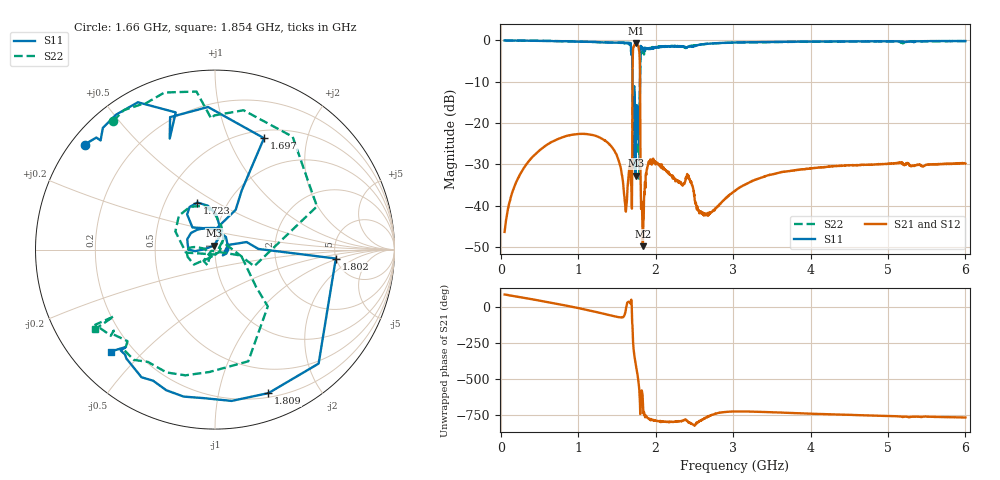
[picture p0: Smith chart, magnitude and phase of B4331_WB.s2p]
! Matrix data file written by TouchstoneData, EPCOS AG
! FILENAME: "B4331_01_WB.snp"
! COMMENT: "xxxx"
! INFO: nport=2, nfreq=1601
! DATE: "Wed Dec 18 10:35:18 2013"
! USER: "Dan Wang"
! port | pin | signal
!  1  |  1  |  input
!  2  |  4  |  output
# MHZ S RI R 50
! freq  reS11 imS11  reS21 imS21  reS12 imS12  reS22 imS22
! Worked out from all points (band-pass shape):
!   1601 points, 50 MHz to 6 GHz, reference 50 ohm
!   highest |S21| = -0.69 dB at 1.746 GHz (marker M1); lowest = -49.8 dB at 1.835 GHz (marker M2)
!   |S21| within 3 dB of the highest: 1.706 GHz to 1.792 GHz (86.73 MHz wide, 4.96 % of centre)
!   lowest |S11| = -32.7 dB at 1.742 GHz (marker M3), VSWR 1.05, Z = 49.5 + j2.25 ohm
!   |S11| at or under -10 dB: 1.702 GHz to 1.799 GHz (96.32 MHz wide, 5.5 % of centre)
!   |S22| runs from -33.5 to 0.0 dB; largest |S21 - S12| = 0
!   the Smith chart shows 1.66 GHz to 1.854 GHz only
!   S11 on the Smith chart (normalised r, x): 1.66 GHz: 0.04, +0.35; 1.697 GHz: 0.59, +1.36; 1.723 GHz: 0.72, +0.41; 1.802 GHz: 4.98, -0.91; 1.809 GHz: 0.24, -1.41; 1.854 GHz: 0.12, -0.40
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50  0.9955 -0.0762  0.000366 0.0048  0.000366 0.0048  0.9953 -0.0846
373.5312  0.8321 -0.5398  0.02 0.0293  0.02 0.0293  0.8018 -0.587
1042.906  -0.1886 -0.9441  0.072 -0.0173  0.072 -0.0173  -0.3334 -0.9091
1496.594  -0.9064 -0.2557  0.0146 -0.0385  0.0146 -0.0385  -0.9391 -0.0743
1604.438  -0.9232 0.1535  0.00771 -0.0077  0.00771 -0.0077  -0.8516 0.3557
1660.219  -0.7268 0.5856  0.0239 0.0158  0.0239 0.0158  -0.5668 0.7161
1697.406  0.273 0.6208  -0.0104 -0.0272  -0.0104 -0.0272  0.568 0.2407
1723.438  -0.0981 0.2622  0.7719 0.4105  0.7719 0.4105  -0.1397 0.2383
1742.031  -0.00466 0.0227  0.7148 -0.5607  0.7148 -0.5607  0.0259 -0.0116
1745.75  -0.0622 0.0011  0.6035 -0.6985  0.6035 -0.6985  -0.0337 -0.0478
1771.781  -0.00162 0.1209  -0.5935 -0.6363  -0.5935 -0.6363  -0.0983 0.0135
1801.531  0.6732 -0.0497  0.1247 -0.0638  0.1247 -0.0638  0.2942 -0.3164
1808.969  0.298 -0.7995  0.00791 0.0119  0.00791 0.0119  -0.0299 -0.6816
1835  -0.4564 -0.6531  0.00139 0.00293  0.00139 0.00293  -0.5745 -0.4685
1853.594  -0.5817 -0.5679  0.012 -0.00845  0.012 -0.00845  -0.6659 -0.4419
1905.656  -0.7247 -0.3006  0.0171 -0.0277  0.0171 -0.0277  -0.7836 -0.1619
2035.812  -0.8349 0.00806  0.00786 -0.0307  0.00786 -0.0307  -0.8105 0.1627
2623.375  -0.6078 0.6633  0.00374 -0.00661  0.00374 -0.00661  -0.5079 0.746
3025  -0.3132 0.8888  0.015 -0.00224  0.015 -0.00224  -0.2116 0.9155
4017.906  0.2253 0.9414  0.0259 -0.0118  0.0259 -0.0118  0.3065 0.9125
5010.812  0.5105 0.8317  0.0244 -0.0208  0.0244 -0.0208  0.5765 0.7794
6000  0.6661 0.7241  0.0207 -0.0249  0.0207 -0.0249  0.7189 0.6647
